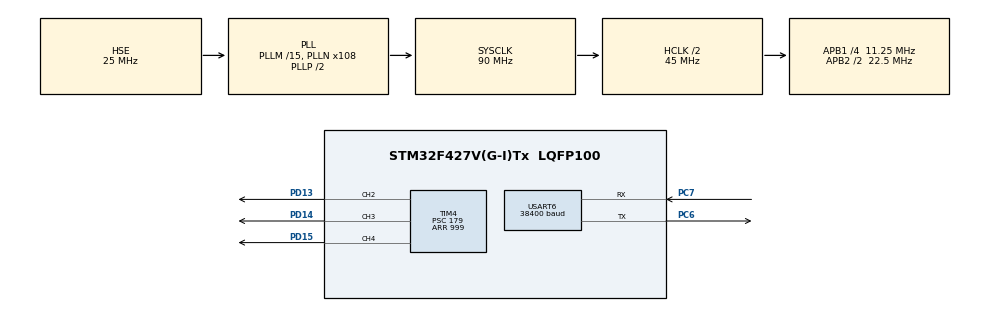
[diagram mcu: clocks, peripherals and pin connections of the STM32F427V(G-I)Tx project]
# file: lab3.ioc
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Mcu.Family=STM32F4
Mcu.Name=STM32F427V(G-I)Tx
Mcu.Package=LQFP100
NVIC.PriorityGroup=NVIC_PRIORITYGROUP_4
NVIC.USART6_IRQn=true\:0\:0\:false\:false\:true\:true\:true\:true
PC6.Mode=Asynchronous
PC6.Signal=USART6_TX
PC7.Mode=Asynchronous
PC7.Signal=USART6_RX
PD13.Signal=S_TIM4_CH2
PD14.Signal=S_TIM4_CH3
PD15.Signal=S_TIM4_CH4
PH0/OSC_IN.Mode=HSE-External-Oscillator
PH0/OSC_IN.Signal=RCC_OSC_IN
PH1/OSC_OUT.Mode=HSE-External-Oscillator
PH1/OSC_OUT.Signal=RCC_OSC_OUT
ProjectManager.HeapSize=0x200
ProjectManager.StackSize=0x400
ProjectManager.TargetToolchain=STM32CubeIDE
RCC.48MHZClocksFreq_Value=45000000
RCC.AHBCLKDivider=RCC_SYSCLK_DIV2
RCC.AHBFreq_Value=45000000
RCC.APB1CLKDivider=RCC_HCLK_DIV4
RCC.APB1Freq_Value=11250000
RCC.APB1TimFreq_Value=22500000
RCC.APB2CLKDivider=RCC_HCLK_DIV2
RCC.APB2Freq_Value=22500000
RCC.APB2TimFreq_Value=45000000
RCC.CortexFreq_Value=45000000
RCC.HCLKFreq_Value=45000000
RCC.HSE_VALUE=25000000
RCC.HSI_VALUE=16000000
RCC.LSE_VALUE=32768
RCC.PLLM=15
RCC.PLLN=108
RCC.PLLSourceVirtual=RCC_PLLSOURCE_HSE
RCC.SYSCLKFreq_VALUE=90000000
RCC.SYSCLKSource=RCC_SYSCLKSOURCE_PLLCLK
RCC.VCOOutputFreq_Value=180000000
SH.S_TIM4_CH2.0=TIM4_CH2,PWM Generation2 CH2
SH.S_TIM4_CH3.0=TIM4_CH3,PWM Generation3 CH3
SH.S_TIM4_CH4.0=TIM4_CH4,PWM Generation4 CH4
TIM4.Channel-PWM\ Generation2\ CH2=TIM_CHANNEL_2
TIM4.Channel-PWM\ Generation3\ CH3=TIM_CHANNEL_3
TIM4.Channel-PWM\ Generation4\ CH4=TIM_CHANNEL_4
TIM4.Period=999
TIM4.Prescaler=179
TIM4.Pulse-PWM\ Generation2\ CH2=500
TIM4.Pulse-PWM\ Generation3\ CH3=500
TIM4.Pulse-PWM\ Generation4\ CH4=500
USART6.BaudRate=38400
USART6.VirtualMode=VM_ASYNC
VP_TIM4_VS_ClockSourceINT.Mode=Internal
board=custom

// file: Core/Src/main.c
/* USER CODE BEGIN Header */
/**
 ******************************************************************************
 * @file           : main.c
 * @brief          : Main program body
 ******************************************************************************
 * @attention
 *
 * Copyright (c) 2025 STMicroelectronics.
 * All rights reserved.
 *
 * This software is licensed under terms that can be found in the LICENSE file
 * in the root directory of this software component.
 * If no LICENSE file comes with this software, it is provided AS-IS.
 *
 ******************************************************************************
 */
/* USER CODE END Header */
#include "main.h"
#include "tim.h"
#include "usart.h"
#include "gpio.h"

/* USER CODE BEGIN Includes */
#include "led_driver.h"
#include "usart_drv.h"
#include <stdio.h>
/* USER CODE END Includes */

/* USER CODE BEGIN PTD */
typedef enum
{
  MODE_WORK,
  MODE_CONFIG_SLOT,
  MODE_CONFIG_COLOR,
  MODE_CONFIG_BRIGHTNESS
} Mode_t;
Mode_t mode = MODE_WORK;

typedef enum
{
  LED_GREEN,
  LED_YELLOW,
  LED_RED
} LedColor_t;

typedef struct
{
  LedColor_t color;
  uint8_t duty;
} LedSlot_t;

LedSlot_t slots[9] = {
    {LED_GREEN, 10}, {LED_GREEN, 40}, {LED_GREEN, 100}, {LED_YELLOW, 10}, {LED_YELLOW, 40}, {LED_YELLOW, 100}, {LED_RED, 10}, {LED_RED, 40}, {LED_RED, 100}};

uint8_t selected_slot = 0;

/* USER CODE END PTD */

void SystemClock_Config(void);
/* USER CODE BEGIN PFP */
void uart_println(const char *s)
{
  USART_DRV_TxStr("\n");
  USART_DRV_TxStr(s);
  USART_DRV_TxStr("\n");
}
void set_led_pwm(LedSlot_t cfg)
{
  __HAL_TIM_SET_COMPARE(&htim4, TIM_CHANNEL_2, 0);
  __HAL_TIM_SET_COMPARE(&htim4, TIM_CHANNEL_3, 0);
  __HAL_TIM_SET_COMPARE(&htim4, TIM_CHANNEL_4, 0);

  uint32_t value = cfg.duty * 10;

  switch (cfg.color)
  {
  case LED_GREEN:
    __HAL_TIM_SET_COMPARE(&htim4, TIM_CHANNEL_2, value);
    break;
  case LED_YELLOW:
    __HAL_TIM_SET_COMPARE(&htim4, TIM_CHANNEL_3, value);
    break;
  case LED_RED:
    __HAL_TIM_SET_COMPARE(&htim4, TIM_CHANNEL_4, value);
    break;
  }
}

static uint8_t edit_slot = 0;

void handle_config_char(char c)
{
  if ((mode == MODE_CONFIG_SLOT) && (c >= '1' && c <= '9'))
  {
    edit_slot = c - '1';
    set_led_pwm(slots[edit_slot]);
    mode = MODE_CONFIG_COLOR;
    uart_println("Select LED color: a(green), b(yellow), c(red)");
  }
  else if ((mode == MODE_CONFIG_COLOR) && (c == 'a' || c == 'b' || c == 'c'))
  {
    switch (c)
    {
    case 'a':
      slots[edit_slot].color = LED_GREEN;
      break;
    case 'b':
      slots[edit_slot].color = LED_YELLOW;
      break;
    case 'c':
      slots[edit_slot].color = LED_RED;
      break;
    }
    set_led_pwm(slots[edit_slot]);
    mode = MODE_CONFIG_BRIGHTNESS;
    uart_println("Use +/- to change brightness, Enter to save");
  }
  else if ((mode == MODE_CONFIG_BRIGHTNESS) && (c == '+' || c == '-'))
  {
    int delta = (c == '+') ? 10 : -10;
    int result = slots[edit_slot].duty + delta;
    if (result > 100)
    {
      result = 100;
    }
    else if (result < 0)
    {
      result = 0;
    }
    slots[edit_slot].duty = result;
    set_led_pwm(slots[edit_slot]);

    char buf[32];
    sprintf(buf, "Brightness: %d%%", slots[edit_slot].duty);
    uart_println(buf);
  }
  else if (c == '\r')
  {
	mode = MODE_WORK;
    uart_println("Saved, back to WORK mode");
  }
  else
  {
    uart_println("Invalid input");
  }
}

/* USER CODE END PFP */

int main(void)
{

  /* MCU Configuration--------------------------------------------------------*/

  /* Reset of all peripherals, Initializes the Flash interface and the Systick. */
  HAL_Init();

  /* Configure the system clock */
  SystemClock_Config();

  /* Initialize all configured peripherals */
  MX_GPIO_Init();
  MX_USART6_UART_Init();
  MX_TIM4_Init();
  /* USER CODE BEGIN 2 */
  USART_DRV_Init(&huart6);
  USART_DRV_EnableInterrupts(true);
  USART_DRV_SetEcho(true);

  HAL_TIM_PWM_Start(&htim4, TIM_CHANNEL_2);
  HAL_TIM_PWM_Start(&htim4, TIM_CHANNEL_3);
  HAL_TIM_PWM_Start(&htim4, TIM_CHANNEL_4);

  set_led_pwm(slots[selected_slot]);
  /* USER CODE END 2 */

  /* Infinite loop */
  /* USER CODE BEGIN WHILE */
  while (1)
  {
    uint8_t rx;
    while (USART_DRV_PollGetByte(&rx))
    {
      if (mode != MODE_WORK)
      {
        handle_config_char(rx);
        continue;
      }
      switch (rx)
      {
      case '0':
        __HAL_TIM_SET_COMPARE(&htim4, TIM_CHANNEL_2, 0);
        __HAL_TIM_SET_COMPARE(&htim4, TIM_CHANNEL_3, 0);
        __HAL_TIM_SET_COMPARE(&htim4, TIM_CHANNEL_4, 0);
        uart_println("All switched off");
        break;
      case '1' ... '9':
        selected_slot = rx - '1';
        set_led_pwm(slots[selected_slot]);
        char buf[32];
        sprintf(buf, "Set mode %d", selected_slot + 1);
        uart_println(buf);
        break;
      case '\r':
        mode = MODE_CONFIG_SLOT;
        USART_DRV_TxStr("CONFIG_MODE\nSelect slot (from 1 to 9):\n");
        break;
      default:
        uart_println("UNKNOWN COMMAND");
        break;
      }
    }
    /* USER CODE END WHILE */

  }
}

void SystemClock_Config(void)
{
  RCC_OscInitTypeDef RCC_OscInitStruct = {0};
  RCC_ClkInitTypeDef RCC_ClkInitStruct = {0};

  /** Configure the main internal regulator output voltage
  */
  __HAL_RCC_PWR_CLK_ENABLE();
  __HAL_PWR_VOLTAGESCALING_CONFIG(PWR_REGULATOR_VOLTAGE_SCALE3);

  /** Initializes the RCC Oscillators according to the specified parameters
  * in the RCC_OscInitTypeDef structure.
  */
  RCC_OscInitStruct.OscillatorType = RCC_OSCILLATORTYPE_HSE;
  RCC_OscInitStruct.HSEState = RCC_HSE_ON;
  RCC_OscInitStruct.PLL.PLLState = RCC_PLL_ON;
  RCC_OscInitStruct.PLL.PLLSource = RCC_PLLSOURCE_HSE;
  RCC_OscInitStruct.PLL.PLLM = 15;
  RCC_OscInitStruct.PLL.PLLN = 108;
  RCC_OscInitStruct.PLL.PLLP = RCC_PLLP_DIV2;
  RCC_OscInitStruct.PLL.PLLQ = 4;
  if (HAL_RCC_OscConfig(&RCC_OscInitStruct) != HAL_OK)
  {
    Error_Handler();
  }

  /** Initializes the CPU, AHB and APB buses clocks
  */
  RCC_ClkInitStruct.ClockType = RCC_CLOCKTYPE_HCLK|RCC_CLOCKTYPE_SYSCLK
                              |RCC_CLOCKTYPE_PCLK1|RCC_CLOCKTYPE_PCLK2;
  RCC_ClkInitStruct.SYSCLKSource = RCC_SYSCLKSOURCE_PLLCLK;
  RCC_ClkInitStruct.AHBCLKDivider = RCC_SYSCLK_DIV2;
  RCC_ClkInitStruct.APB1CLKDivider = RCC_HCLK_DIV4;
  RCC_ClkInitStruct.APB2CLKDivider = RCC_HCLK_DIV2;

  if (HAL_RCC_ClockConfig(&RCC_ClkInitStruct, FLASH_LATENCY_1) != HAL_OK)
  {
    Error_Handler();
  }
}

void Error_Handler(void)
{
  __disable_irq();
  while (1)
  {
  }
}
